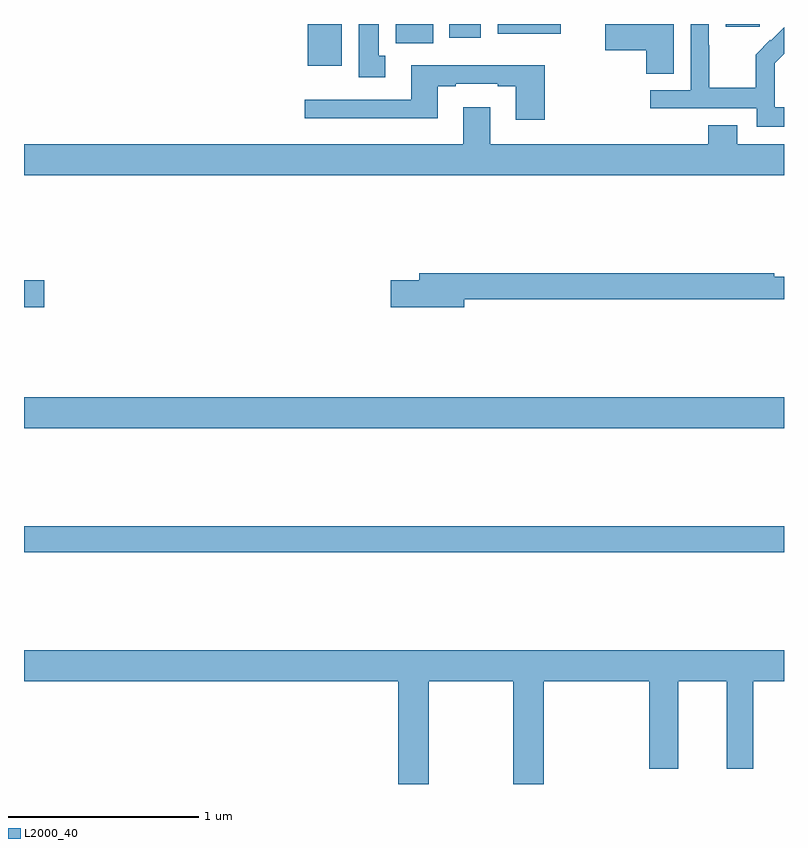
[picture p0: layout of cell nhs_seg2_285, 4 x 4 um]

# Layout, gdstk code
import gdstk
lib = gdstk.Library(unit=1e-6, precision=1e-09)
def R(c, l, rs):  # rectangles x0, y0, x1, y1
    for r in rs: c.add(gdstk.rectangle(r[:2], r[2:], *l))
def P(c, l, *ps):  # polygons
    for p in ps: c.add(gdstk.Polygon(p, *l))
L2000_40 = (2000, 40)

nhs_seg2_285 = lib.new_cell('nhs_seg2_285')
R(nhs_seg2_285, L2000_40, [(125,611.02,129,611.156), (125,611.672,129,611.836), (125,612.31,125.107,612.452), (126.494,613.58,126.673,613.8), (126.956,613.7,127.153,613.8), (127.238,613.728,127.405,613.8), (127.493,613.748,127.824,613.8), (128.693,613.785,128.872,613.8)])
P(nhs_seg2_285, L2000_40, [(126.901,613.634),(126.868,613.634),(126.868,613.8),(126.761,613.8),(126.761,613.521),(126.901,613.521)],
  [(129,613.363),(128.952,613.363),(128.952,613.497),(128.95,613.497),(128.95,613.594),(129,613.644),(129,613.782),(128.931,613.713),(128.928,613.716),(128.851,613.639),(128.851,613.465),(128.607,613.465),(128.607,613.688),(128.604,613.688),(128.604,613.8),(128.508,613.8),(128.508,613.452),(128.295,613.452),(128.295,613.356),(128.856,613.356),(128.856,613.259),(129,613.259)],
  [(128.419,613.8),(128.058,613.8),(128.058,613.661),(128.276,613.661),(128.276,613.537),(128.419,613.537)],
  [(127.742,613.582),(127.037,613.582),(127.037,613.401),(126.477,613.401),(126.477,613.304),(127.177,613.304),(127.177,613.473),(127.273,613.473),(127.273,613.485),(127.493,613.485),(127.493,613.473),(127.589,613.473),(127.589,613.296),(127.742,613.296)],
  [(129,613.168),(128.755,613.168),(128.755,613.267),(128.602,613.267),(128.602,613.168),(127.453,613.168),(127.453,613.363),(127.313,613.363),(127.313,613.168),(125,613.168),(125,613.004),(129,613.004)],
  [(127.318,612.352),(129,612.352),(129,612.469),(128.948,612.469),(128.948,612.488),(127.079,612.488),(127.079,612.452),(126.93,612.452),(126.93,612.31),(127.318,612.31)],
  [(127.131,610.34),(127.576,610.34),(127.576,609.8),(127.736,609.8),(127.736,610.34),(128.291,610.34),(128.291,609.879),(128.443,609.879),(128.443,610.34),(128.699,610.34),(128.699,609.879),(128.839,609.879),(128.839,610.34),(129,610.34),(129,610.504),(125,610.504),(125,610.34),(126.971,610.34),(126.971,609.8),(127.131,609.8)])

lib.write_gds('nhs_seg2_285.gds')
